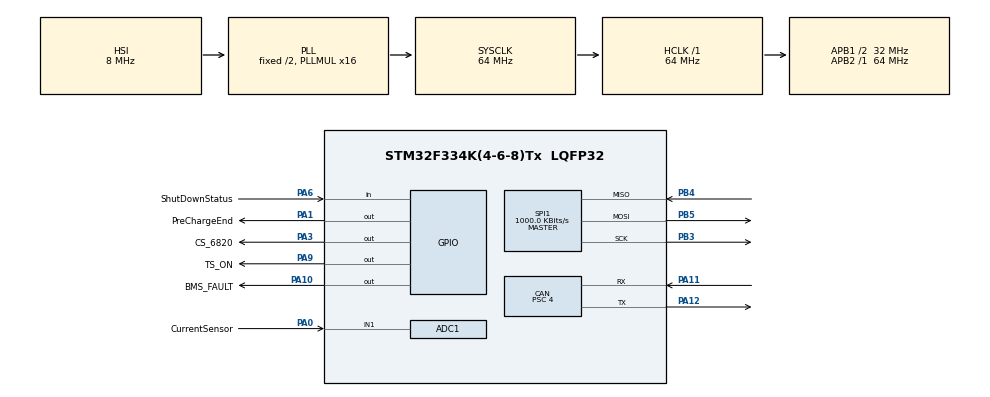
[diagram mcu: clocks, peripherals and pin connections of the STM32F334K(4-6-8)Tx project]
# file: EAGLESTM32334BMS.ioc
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ADC1.Channel-0\#ChannelRegularConversion=ADC_CHANNEL_1
ADC1.ClockPrescaler=ADC_CLOCK_SYNC_PCLK_DIV4
ADC1.ContinuousConvMode=ENABLE
ADC1.DMAContinuousRequests=ENABLE
ADC1.EnableInjectedConversion=DISABLE
ADC1.NbrOfConversion=1
ADC1.NbrOfConversionFlag=1
ADC1.Offset-0\#ChannelRegularConversion=0
ADC1.OffsetNumber-0\#ChannelRegularConversion=ADC_OFFSET_NONE
ADC1.Rank-0\#ChannelRegularConversion=1
ADC1.SamplingTime-0\#ChannelRegularConversion=ADC_SAMPLETIME_601CYCLES_5
ADC1.SubFamily=STM32F334x8
ADC1.master=1
CAN.BS1=CAN_BS1_6TQ
CAN.CalculateTimeQuantum=125.0
CAN.Prescaler=4
Dma.ADC1.0.Direction=DMA_PERIPH_TO_MEMORY
Dma.ADC1.0.Instance=DMA1_Channel1
Dma.ADC1.0.MemDataAlignment=DMA_MDATAALIGN_WORD
Dma.ADC1.0.MemInc=DMA_MINC_ENABLE
Dma.ADC1.0.Mode=DMA_CIRCULAR
Dma.ADC1.0.PeriphDataAlignment=DMA_PDATAALIGN_WORD
Dma.ADC1.0.PeriphInc=DMA_PINC_DISABLE
Dma.ADC1.0.Priority=DMA_PRIORITY_HIGH
Dma.Request0=ADC1
Mcu.Family=STM32F3
Mcu.Name=STM32F334K(4-6-8)Tx
Mcu.Package=LQFP32
NVIC.DMA1_Channel1_IRQn=true\:0\:0\:false\:false\:true\:false
NVIC.PriorityGroup=NVIC_PRIORITYGROUP_4
PA0.GPIO_Label=CurrentSensor
PA0.Mode=IN1-Single-Ended
PA0.Signal=ADC1_IN1
PA1.GPIO_Label=PreChargeEnd
PA1.Signal=GPIO_Output
PA10.GPIO_Label=BMS_FAULT
PA10.Signal=GPIO_Output
PA11.GPIO_PuPd=GPIO_PULLUP
PA11.Mode=Master
PA11.Signal=CAN_RX
PA12.GPIO_PuPd=GPIO_PULLUP
PA12.Mode=Master
PA12.Signal=CAN_TX
PA13.Mode=Serial_Wire
PA13.Signal=SYS_JTMS-SWDIO
PA14.Mode=Serial_Wire
PA14.Signal=SYS_JTCK-SWCLK
PA3.GPIO_Label=CS_6820
PA3.PinState=GPIO_PIN_SET
PA3.Signal=GPIO_Output
PA6.GPIO_Label=ShutDownStatus
PA6.GPIO_PuPd=GPIO_PULLUP
PA6.Signal=GPIO_Input
PA9.GPIO_Label=TS_ON
PA9.Signal=GPIO_Output
PB3.Mode=Full_Duplex_Master
PB3.Signal=SPI1_SCK
PB4.Mode=Full_Duplex_Master
PB4.Signal=SPI1_MISO
PB5.Mode=Full_Duplex_Master
PB5.Signal=SPI1_MOSI
ProjectManager.HeapSize=0x200
ProjectManager.StackSize=0x400
ProjectManager.TargetToolchain=SW4STM32
RCC.AHBFreq_Value=64000000
RCC.APB1CLKDivider=RCC_HCLK_DIV2
RCC.APB1Freq_Value=32000000
RCC.APB1TimFreq_Value=64000000
RCC.APB2Freq_Value=64000000
RCC.APB2TimFreq_Value=64000000
RCC.CortexFreq_Value=64000000
RCC.HCLKFreq_Value=64000000
RCC.HSE_VALUE=8000000
RCC.HSI_VALUE=8000000
RCC.PLLMUL=RCC_PLL_MUL16
RCC.SYSCLKFreq_VALUE=64000000
RCC.SYSCLKSourceVirtual=RCC_SYSCLKSOURCE_PLLCLK
SPI1.BaudRatePrescaler=SPI_BAUDRATEPRESCALER_64
SPI1.CalculateBaudRate=1000.0 KBits/s
SPI1.DataSize=SPI_DATASIZE_8BIT
SPI1.Direction=SPI_DIRECTION_2LINES
SPI1.Mode=SPI_MODE_MASTER
SPI1.VirtualType=VM_MASTER
TIM6.Prescaler=32000
TIM6.TIM_MasterOutputTrigger=TIM_TRGO_RESET
VP_TIM6_VS_ClockSourceINT.Mode=Enable_Timer
board=EAGLESTM32334BMS

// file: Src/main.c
/**
  ******************************************************************************
  * @file           : main.c
  * @brief          : Main program body
  ******************************************************************************
  ** This notice applies to any and all portions of this file
  * that are not between comment pairs USER CODE BEGIN and
  * USER CODE END. Other portions of this file, whether
  * inserted by the user or by software development tools
  * are owned by their respective copyright owners.
  *
  * COPYRIGHT(c) 2018 STMicroelectronics
  *
  * Redistribution and use in source and binary forms, with or without modification,
  * are permitted provided that the following conditions are met:
  *   1. Redistributions of source code must retain the above copyright notice,
  *      this list of conditions and the following disclaimer.
  *   2. Redistributions in binary form must reproduce the above copyright notice,
  *      this list of conditions and the following disclaimer in the documentation
  *      and/or other materials provided with the distribution.
  *   3. Neither the name of STMicroelectronics nor the names of its contributors
  *      may be used to endorse or promote products derived from this software
  *      without specific prior written permission.
  *
  * THIS SOFTWARE IS PROVIDED BY THE COPYRIGHT HOLDERS AND CONTRIBUTORS "AS IS"
  * AND ANY EXPRESS OR IMPLIED WARRANTIES, INCLUDING, BUT NOT LIMITED TO, THE
  * IMPLIED WARRANTIES OF MERCHANTABILITY AND FITNESS FOR A PARTICULAR PURPOSE ARE
  * DISCLAIMED. IN NO EVENT SHALL THE COPYRIGHT HOLDER OR CONTRIBUTORS BE LIABLE
  * FOR ANY DIRECT, INDIRECT, INCIDENTAL, SPECIAL, EXEMPLARY, OR CONSEQUENTIAL
  * DAMAGES (INCLUDING, BUT NOT LIMITED TO, PROCUREMENT OF SUBSTITUTE GOODS OR
  * SERVICES; LOSS OF USE, DATA, OR PROFITS; OR BUSINESS INTERRUPTION) HOWEVER
  * CAUSED AND ON ANY THEORY OF LIABILITY, WHETHER IN CONTRACT, STRICT LIABILITY,
  * OR TORT (INCLUDING NEGLIGENCE OR OTHERWISE) ARISING IN ANY WAY OUT OF THE USE
  * OF THIS SOFTWARE, EVEN IF ADVISED OF THE POSSIBILITY OF SUCH DAMAGE.
  *
  ******************************************************************************
  */
#include "main.h"
#include "stm32f3xx_hal.h"

/* USER CODE BEGIN Includes */

#include "ltc_68xx.h"
#include "can.h"
#include <string.h>
#include <stdlib.h>
#include <inttypes.h>
#define TOT_IC 12 // number of daisy chain
#define CELL_CH 9
CAN_FilterConfTypeDef runFilter;
CAN_FilterConfTypeDef pcFilter;
CanRxMsgTypeDef RxMsg;
CanTxMsgTypeDef TxMsg;

/* USER CODE END Includes */

ADC_HandleTypeDef hadc1;
DMA_HandleTypeDef hdma_adc1;
CAN_HandleTypeDef hcan;
SPI_HandleTypeDef hspi1;
TIM_HandleTypeDef htim6;

/* USER CODE BEGIN PV */
/* Private variables ---------------------------------------------------------*/

uint16_t cell_voltages[108][2];
uint16_t cell_voltages_vector[108];
uint8_t parity = 0;
uint16_t cell_temperatures[108][2];
uint16_t cell_temperatures_vector[108];
uint32_t pack_v;
uint16_t pack_t;
uint16_t max_t;
uint8_t cell;
uint16_t value;

uint8_t data[8];
uint8_t InvBusVoltage[] = {0x3D, 0xEB, 0x00, 0x00, 0x00, 0x00, 0x00, 0x00};
uint8_t TsON[] = {0x03, 0x00, 0x00, 0x00, 0x00, 0x00, 0x00, 0x00};
uint8_t TsOFF[] = {0x04, 0x00, 0x00, 0x00, 0x00, 0x00, 0x00, 0x00};

uint32_t adcCurrent[512];
int32_t instCurrent;
int32_t current;
int32_t current_s;
PackStateTypeDef state = PACK_OK;

uint8_t fault_counter = 0;
uint8_t BMS_status = 0;
uint8_t precharge;
uint16_t precharge_timer = 0;
int32_t bus_voltage;

/* USER CODE END PV */

void SystemClock_Config(void);
static void MX_GPIO_Init(void);
static void MX_DMA_Init(void);
static void MX_SPI1_Init(void);
static void MX_ADC1_Init(void);
static void MX_CAN_Init(void);
static void MX_TIM6_Init(void);

/* USER CODE BEGIN PFP */
/* Private function prototypes -----------------------------------------------*/

/* USER CODE END PFP */

int main(void)
{

  /* MCU Configuration----------------------------------------------------------*/

  /* Reset of all peripherals, Initializes the Flash interface and the Systick. */
  HAL_Init();

  /* Configure the system clock */
  SystemClock_Config();

  /* Initialize all configured peripherals */
  MX_GPIO_Init();
  MX_DMA_Init();
  MX_SPI1_Init();
  MX_ADC1_Init();
  MX_CAN_Init();
  MX_TIM6_Init();
  /* USER CODE BEGIN 2 */

  // CAN FIlter Initialization
  runFilter.FilterNumber = 0;
  runFilter.FilterMode = CAN_FILTERMODE_IDLIST;
  runFilter.FilterIdLow = 0x55 << 5;
  runFilter.FilterIdHigh = 0xA8 << 5;
  runFilter.FilterMaskIdHigh = 0x55 << 5;
  runFilter.FilterMaskIdLow = 0x55 << 5;
  runFilter.FilterFIFOAssignment = CAN_FILTER_FIFO0;
  runFilter.FilterScale  = CAN_FILTERSCALE_16BIT;
  runFilter.FilterActivation = ENABLE;
  HAL_CAN_ConfigFilter(&hcan, &runFilter);

  pcFilter.FilterNumber = 0;
  pcFilter.FilterMode = CAN_FILTERMODE_IDLIST;
  pcFilter.FilterIdLow = 0x181 << 5;
  pcFilter.FilterIdHigh = 0x181 << 5;
  pcFilter.FilterMaskIdHigh = 0x181 << 5;
  pcFilter.FilterMaskIdLow = 0x181 << 5;
  pcFilter.FilterFIFOAssignment = CAN_FILTER_FIFO0;
  pcFilter.FilterScale  = CAN_FILTERSCALE_16BIT;
  pcFilter.FilterActivation = ENABLE;

  // BMS Status OFF
  HAL_GPIO_WritePin(GPIOA, GPIO_PIN_10, GPIO_PIN_RESET);
  precharge = 1;

  // First cell  reads
   //Voltages
  ltc6804_adcv(0, &hspi1);
  HAL_Delay(10);

  for(uint8_t current_ic = 0; current_ic < TOT_IC; current_ic++){
	  ltc6804_rdcv_voltages(current_ic, cell_voltages, &hspi1);
  }

  // Temperatures
  ltc6804_command_temperatures(1, 0, &hspi1);
  ltc6804_adcv(1, &hspi1);
  HAL_Delay(10);

  for(uint8_t current_ic = 0; current_ic < TOT_IC; current_ic++)
	  ltc6804_rdcv_temp(current_ic, 0, cell_temperatures, &hspi1);

  ltc6804_command_temperatures(1, 1, &hspi1);
  ltc6804_adcv(1, &hspi1);
  HAL_Delay(10);

  for(uint8_t current_ic = 0; current_ic < TOT_IC; current_ic++)
	  ltc6804_rdcv_temp(current_ic, 1, cell_temperatures, &hspi1);
  ltc6804_command_temperatures(0, 0, &hspi1);

  //Cells 90 and 91 not working
  cell_voltages[90][0] = (cell_voltages[89][0] + cell_voltages[88][0]) / 2;
  cell_voltages[91][0] = (cell_voltages[92][0] + cell_voltages[93][0]) / 2;
  cell_voltages[90][1] = 0;
  cell_voltages[91][1] = 0;
  cell_temperatures[90][0] = (cell_temperatures[89][0] + cell_temperatures[88][0]) / 2;
  cell_temperatures[91][0] = (cell_temperatures[92][0] + cell_temperatures[93][0]) / 2;
  cell_temperatures[90][1] = 0;
  cell_temperatures[91][1] = 0;

 // Start current measuring
  HAL_ADC_Start_DMA(&hadc1, adcCurrent, 512);

  /* USER CODE END 2 */

  /* Infinite loop */
  /* USER CODE BEGIN WHILE */

  while (1)
  {
	  if(HAL_CAN_GetState(&hcan)==HAL_CAN_ERROR_BOF){
		  // BMS Status OFF
		 HAL_GPIO_WritePin(GPIOA, GPIO_PIN_10, GPIO_PIN_RESET);

	  }
	  // Voltages
	  ltc6804_adcv(0, &hspi1);
	  HAL_Delay(10);
	  for(uint8_t current_ic = 0; current_ic < TOT_IC; current_ic++)
		  ltc6804_rdcv_voltages(current_ic, cell_voltages, &hspi1);

	  // Temperatures
	  if (++parity == 2)
		  parity = 0;
	  ltc6804_command_temperatures(1, parity, &hspi1);
	  ltc6804_adcv(1, &hspi1);
	  HAL_Delay(10);
	  for(uint8_t current_ic = 0; current_ic < TOT_IC; current_ic++)
		  ltc6804_rdcv_temp(current_ic, parity, cell_temperatures, &hspi1);
	  ltc6804_command_temperatures(0, 0, &hspi1);

	  //Cells 90 and 91 not working
	  cell_voltages[90][0] = (cell_voltages[89][0] + cell_voltages[88][0])/2;
	  cell_voltages[91][0] = (cell_voltages[92][0] + cell_voltages[93][0])/2;
	  cell_voltages[90][1] = 0;
	  cell_voltages[91][1] = 0;
	  cell_temperatures[90][0] = (cell_temperatures[89][0]+cell_temperatures[88][0])/2;
	  cell_temperatures[91][0] = (cell_temperatures[92][0]+cell_temperatures[93][0])/2;
	  cell_temperatures[90][1] = 0;
	  cell_temperatures[91][1] = 0;

	  //Current
	  instCurrent = 0;
	  for(int i = 0; i < 512; i++)
		  instCurrent += adcCurrent[i];

	  instCurrent = - (instCurrent/512 - 2595)  * 12.91;
	  current_s = current_s + instCurrent - (current_s / 16);
	  current= current_s/16;

	 state = status(cell_voltages, cell_temperatures, &pack_v, &pack_t, &max_t, instCurrent, &cell, &value);

	  if(state == PACK_OK){

		  fault_counter = 0;
		  if(BMS_status == 0){

			  HAL_Delay(10);
			  BMS_status = 1;
			  HAL_GPIO_WritePin(GPIOA, GPIO_PIN_10, GPIO_PIN_SET);

		  }

	  }
	  else{
		  fault_counter++;
		  if(fault_counter > 15){

			  //Set the BMS to fault
			  BMS_status = 0;
			  HAL_GPIO_WritePin(GPIOA, GPIO_PIN_10, GPIO_PIN_RESET);
			  //Sends the error message indicating the fault and the TS OFF
			  ErrorMsg(state, cell, value, data);
			  CAN_Transmit(&hcan, 0xAA, 8, data);

		  }

	  }

	  // Send pack data via CAN
	  data[0] = 0x01;
	  data[1] = (uint8_t) (pack_v >> 16);
	  data[2] = (uint8_t) (pack_v >> 8);
	  data[3] = (uint8_t) (pack_v);
	  data[4] = (uint8_t) (pack_t >> 8);
	  data[5] = (uint8_t) (pack_t);
	  data[6] = (uint8_t) (max_t >> 8);
	  data[7] = (uint8_t) (max_t);
	  CAN_Transmit(&hcan, 0xAA, 8, data);

	  // Send current data via CAN
	  data[0] = 0x05;
	  data[1] = (int8_t) (current >> 16);
	  data[2] = (int8_t) (current >> 8);
	  data[3] = (int8_t) current;
	  data[4] = 0;
	  data[5] = 0;
	  data[6] = 0;
	  data[7] = 0;
	  CAN_Transmit(&hcan, 0xAA, 8, data);

	  if(precharge == 0){

		  //inverter1 bus voltage request
		  CAN_Transmit(&hcan, 0x201, 3, InvBusVoltage);

		  for(int i = 0; i < 2; i++){

			  hcan.pRxMsg = &RxMsg;
			  if(HAL_CAN_Receive(&hcan,CAN_FIFO0, 1) == HAL_OK){

				  if(RxMsg.StdId == 0x181 && RxMsg.Data[0] == 0xEB){

					  bus_voltage = RxMsg.Data[2] << 8;
					  bus_voltage += RxMsg.Data[1];

				  }

			  }
		  }
		  bus_voltage = bus_voltage * 10000 / 31.499;

		  if(bus_voltage > pack_v * 0.90){

			  HAL_GPIO_WritePin(GPIOA, GPIO_PIN_1, GPIO_PIN_SET);
			  HAL_Delay(1);
			  HAL_GPIO_WritePin(GPIOA, GPIO_PIN_1, GPIO_PIN_RESET);
			  precharge = 1;
			  HAL_CAN_ConfigFilter(&hcan, &runFilter);
			  CAN_Transmit(&hcan, 0xAA, 8, TsON);

		  }
		  if(++precharge_timer > 450){

 			  HAL_GPIO_WritePin(GPIOA, GPIO_PIN_9, GPIO_PIN_RESET);
 			  precharge = 1;
			  HAL_CAN_ConfigFilter(&hcan, &runFilter);

		  }

	  }

	  hcan.pRxMsg = &RxMsg;
	  if(HAL_CAN_Receive(&hcan,CAN_FIFO0, 1) == HAL_OK){

		  if(RxMsg.StdId == 0x55 && RxMsg.Data[0] == 0x0A && RxMsg.Data[1] == 0x00){

			  //TS ON procedure with delay as pre-charge control
			  HAL_GPIO_WritePin(GPIOA, GPIO_PIN_9, GPIO_PIN_SET);
			  precharge = 0;
			  precharge_timer = 0;                                       //INVERTIRE RXMSG
			  bus_voltage = 0;
			  HAL_CAN_ConfigFilter(&hcan, &pcFilter);

		  }
		  else if(RxMsg.StdId == 0x55 && RxMsg.Data[0] == 0x0A && RxMsg.Data[1] == 0x01){

			  //TS ON procedure with delay as pre-charge control
			  HAL_GPIO_WritePin(GPIOA, GPIO_PIN_9, GPIO_PIN_SET);
			  HAL_Delay(15000);
			  HAL_GPIO_WritePin(GPIOA, GPIO_PIN_1, GPIO_PIN_SET);
			  HAL_Delay(1);
			  HAL_GPIO_WritePin(GPIOA, GPIO_PIN_1, GPIO_PIN_RESET);
			  CAN_Transmit(&hcan, 0xAA, 8, TsON);

		  }
		  else if(RxMsg.StdId == 0x55 && RxMsg.Data[0] == 0x0B){

			  HAL_GPIO_WritePin(GPIOA, GPIO_PIN_9, GPIO_PIN_RESET);
			  precharge = 1;
			  CAN_Transmit(&hcan, 0xAA, 8, TsOFF);

		  }
		  else if(RxMsg.StdId == 0xA8){

	  		  for(uint8_t i=0;i<108;i+=3){

				data[0] = i;
				data[1] = (uint8_t) (cell_voltages[i][0] / 400);   //*0.04
				data[2] = (uint8_t) (cell_temperatures[i][0] / 40);//*.4
				data[3] = (uint8_t) (cell_voltages[i+1][0] / 400);
				data[4] =  (uint8_t) (cell_temperatures[i+1][0] / 40);
				data[5] = (uint8_t) (cell_voltages[i+2][0] / 400);
				data[6] =  (uint8_t) (cell_temperatures[i+2][0] / 40);
				data[7] = 0;
				CAN_Transmit(&hcan, 0xAB, 8, data);
				HAL_Delay(10);
	  		  }

		  }

	  }

  /* USER CODE END WHILE */

  }

}

void SystemClock_Config(void)
{

  RCC_OscInitTypeDef RCC_OscInitStruct;
  RCC_ClkInitTypeDef RCC_ClkInitStruct;

    /**Initializes the CPU, AHB and APB busses clocks
    */
  RCC_OscInitStruct.OscillatorType = RCC_OSCILLATORTYPE_HSI;
  RCC_OscInitStruct.HSIState = RCC_HSI_ON;
  RCC_OscInitStruct.HSICalibrationValue = 16;
  RCC_OscInitStruct.PLL.PLLState = RCC_PLL_ON;
  RCC_OscInitStruct.PLL.PLLSource = RCC_PLLSOURCE_HSI;
  RCC_OscInitStruct.PLL.PLLMUL = RCC_PLL_MUL16;
  if (HAL_RCC_OscConfig(&RCC_OscInitStruct) != HAL_OK)
  {
    _Error_Handler(__FILE__, __LINE__);
  }

    /**Initializes the CPU, AHB and APB busses clocks
    */
  RCC_ClkInitStruct.ClockType = RCC_CLOCKTYPE_HCLK|RCC_CLOCKTYPE_SYSCLK
                              |RCC_CLOCKTYPE_PCLK1|RCC_CLOCKTYPE_PCLK2;
  RCC_ClkInitStruct.SYSCLKSource = RCC_SYSCLKSOURCE_PLLCLK;
  RCC_ClkInitStruct.AHBCLKDivider = RCC_SYSCLK_DIV1;
  RCC_ClkInitStruct.APB1CLKDivider = RCC_HCLK_DIV2;
  RCC_ClkInitStruct.APB2CLKDivider = RCC_HCLK_DIV1;

  if (HAL_RCC_ClockConfig(&RCC_ClkInitStruct, FLASH_LATENCY_2) != HAL_OK)
  {
    _Error_Handler(__FILE__, __LINE__);
  }

    /**Configure the Systick interrupt time
    */
  HAL_SYSTICK_Config(HAL_RCC_GetHCLKFreq()/1000);

    /**Configure the Systick
    */
  HAL_SYSTICK_CLKSourceConfig(SYSTICK_CLKSOURCE_HCLK);

  /* SysTick_IRQn interrupt configuration */
  HAL_NVIC_SetPriority(SysTick_IRQn, 0, 0);
}

/* ADC1 init function */
static void MX_ADC1_Init(void)
{

  ADC_MultiModeTypeDef multimode;
  ADC_ChannelConfTypeDef sConfig;

    /**Common config
    */
  hadc1.Instance = ADC1;
  hadc1.Init.ClockPrescaler = ADC_CLOCK_SYNC_PCLK_DIV4;
  hadc1.Init.Resolution = ADC_RESOLUTION_12B;
  hadc1.Init.ScanConvMode = ADC_SCAN_DISABLE;
  hadc1.Init.ContinuousConvMode = ENABLE;
  hadc1.Init.DiscontinuousConvMode = DISABLE;
  hadc1.Init.ExternalTrigConvEdge = ADC_EXTERNALTRIGCONVEDGE_NONE;
  hadc1.Init.ExternalTrigConv = ADC_SOFTWARE_START;
  hadc1.Init.DataAlign = ADC_DATAALIGN_RIGHT;
  hadc1.Init.NbrOfConversion = 1;
  hadc1.Init.DMAContinuousRequests = ENABLE;
  hadc1.Init.EOCSelection = ADC_EOC_SINGLE_CONV;
  hadc1.Init.LowPowerAutoWait = DISABLE;
  hadc1.Init.Overrun = ADC_OVR_DATA_OVERWRITTEN;
  if (HAL_ADC_Init(&hadc1) != HAL_OK)
  {
    _Error_Handler(__FILE__, __LINE__);
  }

    /**Configure the ADC multi-mode
    */
  multimode.Mode = ADC_MODE_INDEPENDENT;
  if (HAL_ADCEx_MultiModeConfigChannel(&hadc1, &multimode) != HAL_OK)
  {
    _Error_Handler(__FILE__, __LINE__);
  }

    /**Configure Regular Channel
    */
  sConfig.Channel = ADC_CHANNEL_1;
  sConfig.Rank = ADC_REGULAR_RANK_1;
  sConfig.SingleDiff = ADC_SINGLE_ENDED;
  sConfig.SamplingTime = ADC_SAMPLETIME_601CYCLES_5;
  sConfig.OffsetNumber = ADC_OFFSET_NONE;
  sConfig.Offset = 0;
  if (HAL_ADC_ConfigChannel(&hadc1, &sConfig) != HAL_OK)
  {
    _Error_Handler(__FILE__, __LINE__);
  }

}

/* CAN init function */
static void MX_CAN_Init(void)
{

  hcan.Instance = CAN;
  hcan.Init.Prescaler = 4;
  hcan.Init.Mode = CAN_MODE_NORMAL;
  hcan.Init.SJW = CAN_SJW_1TQ;
  hcan.Init.BS1 = CAN_BS1_6TQ;
  hcan.Init.BS2 = CAN_BS2_1TQ;
  hcan.Init.TTCM = DISABLE;
  hcan.Init.ABOM = DISABLE;
  hcan.Init.AWUM = DISABLE;
  hcan.Init.NART = DISABLE;
  hcan.Init.RFLM = DISABLE;
  hcan.Init.TXFP = DISABLE;
  if (HAL_CAN_Init(&hcan) != HAL_OK)
  {
    _Error_Handler(__FILE__, __LINE__);
  }

}

/* SPI1 init function */
static void MX_SPI1_Init(void)
{

  /* SPI1 parameter configuration*/
  hspi1.Instance = SPI1;
  hspi1.Init.Mode = SPI_MODE_MASTER;
  hspi1.Init.Direction = SPI_DIRECTION_2LINES;
  hspi1.Init.DataSize = SPI_DATASIZE_8BIT;
  hspi1.Init.CLKPolarity = SPI_POLARITY_LOW;
  hspi1.Init.CLKPhase = SPI_PHASE_1EDGE;
  hspi1.Init.NSS = SPI_NSS_SOFT;
  hspi1.Init.BaudRatePrescaler = SPI_BAUDRATEPRESCALER_64;
  hspi1.Init.FirstBit = SPI_FIRSTBIT_MSB;
  hspi1.Init.TIMode = SPI_TIMODE_DISABLE;
  hspi1.Init.CRCCalculation = SPI_CRCCALCULATION_DISABLE;
  hspi1.Init.CRCPolynomial = 7;
  hspi1.Init.CRCLength = SPI_CRC_LENGTH_DATASIZE;
  hspi1.Init.NSSPMode = SPI_NSS_PULSE_ENABLE;
  if (HAL_SPI_Init(&hspi1) != HAL_OK)
  {
    _Error_Handler(__FILE__, __LINE__);
  }

}

/* TIM6 init function */
static void MX_TIM6_Init(void)
{

  TIM_MasterConfigTypeDef sMasterConfig;

  htim6.Instance = TIM6;
  htim6.Init.Prescaler = 32000;
  htim6.Init.CounterMode = TIM_COUNTERMODE_UP;
  htim6.Init.Period = 0;
  htim6.Init.AutoReloadPreload = TIM_AUTORELOAD_PRELOAD_DISABLE;
  if (HAL_TIM_Base_Init(&htim6) != HAL_OK)
  {
    _Error_Handler(__FILE__, __LINE__);
  }

  sMasterConfig.MasterOutputTrigger = TIM_TRGO_RESET;
  sMasterConfig.MasterSlaveMode = TIM_MASTERSLAVEMODE_DISABLE;
  if (HAL_TIMEx_MasterConfigSynchronization(&htim6, &sMasterConfig) != HAL_OK)
  {
    _Error_Handler(__FILE__, __LINE__);
  }

}

static void MX_DMA_Init(void)
{
  /* DMA controller clock enable */
  __HAL_RCC_DMA1_CLK_ENABLE();

  /* DMA interrupt init */
  /* DMA1_Channel1_IRQn interrupt configuration */
  HAL_NVIC_SetPriority(DMA1_Channel1_IRQn, 0, 0);
  HAL_NVIC_EnableIRQ(DMA1_Channel1_IRQn);

}

/** Configure pins as
        * Analog
        * Input
        * Output
        * EVENT_OUT
        * EXTI
*/
static void MX_GPIO_Init(void)
{

  GPIO_InitTypeDef GPIO_InitStruct;

  /* GPIO Ports Clock Enable */
  __HAL_RCC_GPIOA_CLK_ENABLE();
  __HAL_RCC_GPIOB_CLK_ENABLE();

  /*Configure GPIO pin Output Level */
  HAL_GPIO_WritePin(GPIOA, PreChargeEnd_Pin|TS_ON_Pin|BMS_FAULT_Pin, GPIO_PIN_RESET);

  /*Configure GPIO pin Output Level */
  HAL_GPIO_WritePin(CS_6820_GPIO_Port, CS_6820_Pin, GPIO_PIN_SET);

  /*Configure GPIO pins : PreChargeEnd_Pin CS_6820_Pin TS_ON_Pin BMS_FAULT_Pin */
  GPIO_InitStruct.Pin = PreChargeEnd_Pin|CS_6820_Pin|TS_ON_Pin|BMS_FAULT_Pin;
  GPIO_InitStruct.Mode = GPIO_MODE_OUTPUT_PP;
  GPIO_InitStruct.Pull = GPIO_NOPULL;
  GPIO_InitStruct.Speed = GPIO_SPEED_FREQ_LOW;
  HAL_GPIO_Init(GPIOA, &GPIO_InitStruct);

  /*Configure GPIO pin : ShutDownStatus_Pin */
  GPIO_InitStruct.Pin = ShutDownStatus_Pin;
  GPIO_InitStruct.Mode = GPIO_MODE_INPUT;
  GPIO_InitStruct.Pull = GPIO_PULLUP;
  HAL_GPIO_Init(ShutDownStatus_GPIO_Port, &GPIO_InitStruct);

}

void _Error_Handler(char *file, int line)
{
  while(1)
  {
  }
}

/************************ (C) COPYRIGHT STMicroelectronics *****END OF FILE****/
